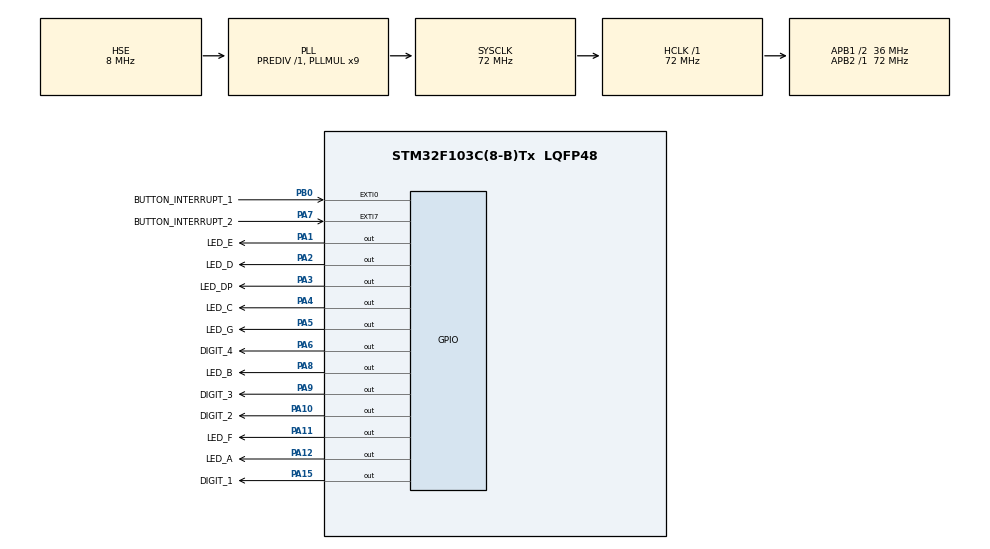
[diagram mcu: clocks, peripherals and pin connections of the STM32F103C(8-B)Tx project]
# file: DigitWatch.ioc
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Mcu.Family=STM32F1
Mcu.Name=STM32F103C(8-B)Tx
Mcu.Package=LQFP48
NVIC.EXTI0_IRQn=true\:3\:0\:true\:false\:true\:true\:true\:true
NVIC.EXTI9_5_IRQn=true\:3\:0\:true\:false\:true\:true\:true\:true
NVIC.PriorityGroup=NVIC_PRIORITYGROUP_4
NVIC.TIM4_IRQn=true\:2\:0\:true\:false\:true\:true\:true\:true
PA1.GPIO_Label=LED_E
PA1.GPIO_Speed=GPIO_SPEED_FREQ_HIGH
PA1.PinState=GPIO_PIN_SET
PA1.Signal=GPIO_Output
PA10.GPIO_Label=DIGIT_2
PA10.GPIO_Speed=GPIO_SPEED_FREQ_HIGH
PA10.Signal=GPIO_Output
PA11.GPIO_Label=LED_F
PA11.GPIO_Speed=GPIO_SPEED_FREQ_HIGH
PA11.PinState=GPIO_PIN_SET
PA11.Signal=GPIO_Output
PA12.GPIO_Label=LED_A
PA12.GPIO_Speed=GPIO_SPEED_FREQ_HIGH
PA12.PinState=GPIO_PIN_SET
PA12.Signal=GPIO_Output
PA13.Mode=Serial_Wire
PA13.Signal=SYS_JTMS-SWDIO
PA14.Mode=Serial_Wire
PA14.Signal=SYS_JTCK-SWCLK
PA15.GPIO_Label=DIGIT_1
PA15.GPIO_Speed=GPIO_SPEED_FREQ_HIGH
PA15.Signal=GPIO_Output
PA2.GPIO_Label=LED_D
PA2.GPIO_Speed=GPIO_SPEED_FREQ_HIGH
PA2.PinState=GPIO_PIN_SET
PA2.Signal=GPIO_Output
PA3.GPIO_Label=LED_DP
PA3.GPIO_Speed=GPIO_SPEED_FREQ_HIGH
PA3.PinState=GPIO_PIN_RESET
PA3.Signal=GPIO_Output
PA4.GPIO_Label=LED_C
PA4.GPIO_Speed=GPIO_SPEED_FREQ_HIGH
PA4.PinState=GPIO_PIN_SET
PA4.Signal=GPIO_Output
PA5.GPIO_Label=LED_G
PA5.GPIO_Speed=GPIO_SPEED_FREQ_HIGH
PA5.PinState=GPIO_PIN_SET
PA5.Signal=GPIO_Output
PA6.GPIO_Label=DIGIT_4
PA6.GPIO_Speed=GPIO_SPEED_FREQ_HIGH
PA6.PinState=GPIO_PIN_RESET
PA6.Signal=GPIO_Output
PA7.GPIO_Label=BUTTON_INTERRUPT_2
PA7.GPIO_ModeDefaultEXTI=GPIO_MODE_IT_FALLING
PA7.GPIO_PuPd=GPIO_PULLUP
PA7.Signal=GPXTI7
PA8.GPIO_Label=LED_B
PA8.GPIO_Speed=GPIO_SPEED_FREQ_HIGH
PA8.PinState=GPIO_PIN_SET
PA8.Signal=GPIO_Output
PA9.GPIO_Label=DIGIT_3
PA9.GPIO_Speed=GPIO_SPEED_FREQ_HIGH
PA9.Signal=GPIO_Output
PB0.GPIO_Label=BUTTON_INTERRUPT_1
PB0.GPIO_ModeDefaultEXTI=GPIO_MODE_IT_FALLING
PB0.GPIO_PuPd=GPIO_PULLUP
PB0.Signal=GPXTI0
PC14-OSC32_IN.Mode=LSE-External-Oscillator
PC14-OSC32_IN.Signal=RCC_OSC32_IN
PC15-OSC32_OUT.Mode=LSE-External-Oscillator
PC15-OSC32_OUT.Signal=RCC_OSC32_OUT
PD0-OSC_IN.Mode=HSE-External-Oscillator
PD0-OSC_IN.Signal=RCC_OSC_IN
PD1-OSC_OUT.Mode=HSE-External-Oscillator
PD1-OSC_OUT.Signal=RCC_OSC_OUT
ProjectManager.HeapSize=0x200
ProjectManager.StackSize=0x400
ProjectManager.TargetToolchain=Makefile
RCC.AHBFreq_Value=72000000
RCC.APB1CLKDivider=RCC_HCLK_DIV2
RCC.APB1Freq_Value=36000000
RCC.APB1TimFreq_Value=72000000
RCC.APB2Freq_Value=72000000
RCC.APB2TimFreq_Value=72000000
RCC.HCLKFreq_Value=72000000
RCC.PLLMUL=RCC_PLL_MUL9
RCC.PLLSourceVirtual=RCC_PLLSOURCE_HSE
RCC.RTCClockSelection=RCC_RTCCLKSOURCE_LSE
RCC.SYSCLKFreq_VALUE=72000000
RCC.SYSCLKSource=RCC_SYSCLKSOURCE_PLLCLK
RCC.USBFreq_Value=72000000
RTC.Hours=15
RTC.Minutes=20
RTC.Seconds=3
TIM4.Period=10000
TIM4.Prescaler=7199
VP_RTC_No_RTC_Output.Mode=RTC_OUT_NO
VP_RTC_VS_RTC_Activate.Mode=RTC_Enabled
VP_RTC_VS_RTC_Calendar.Mode=RTC_Calendar
VP_TIM4_VS_ClockSourceINT.Mode=Internal
board=custom

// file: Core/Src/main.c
/* USER CODE BEGIN Header */
/**
 ******************************************************************************
 * @file           : main.c
 * @brief          : Main program body
 ******************************************************************************
 * @attention
 *
 * Copyright (c) 2025 STMicroelectronics.
 * All rights reserved.
 *
 * This software is licensed under terms that can be found in the LICENSE file
 * in the root directory of this software component.
 * If no LICENSE file comes with this software, it is provided AS-IS.
 *
 ******************************************************************************
 */
/* USER CODE END Header */
#include "main.h"
#include "rtc.h"
#include "tim.h"
#include "gpio.h"

/* USER CODE BEGIN Includes */

#include "revolve.h"
#include "time_keep.h"
#include "clock_keep.h"
#include "countdown.h"
#include "dice.h"
#include "mode_select.h"

/* USER CODE END Includes */

/* USER CODE BEGIN PV */
const uint8_t segment_code[11] = {
    0b00111111, // 0
    0b00000110, // 1
    0b01011011, // 2
    0b01001111, // 3
    0b01100110, // 4
    0b01101101, // 5
    0b01111101, // 6
    0b00000111, // 7
    0b01111111, // 8
    0b01101111, // 9
    0b00000000  // 10
};

// 数码管段码定义（共阴极）
const uint8_t charMap[26] = {
    0x77, 0x7C, 0x39, 0x5E, 0x79, 0x71, 0x3D, 0x76, 0x30, 0x1E, // A-J
    0x75, 0x38, 0x37, 0x54, 0x5C, 0x73, 0x67, 0x50, 0x6D, 0x78, // K-T
    0x3E, 0x1C, 0x2A, 0x49, 0x66, 0x5B                          // U-Z
};

const uint8_t DIGIT_COUNT = 4; // 4 位数码管

char displayBuffer[30] = "ABCDEFGHIJKLMNOPQRSTUVWXYZ  ";
uint8_t currentIndex = 0;

uint16_t LED_ARR[7] = {LED_A_Pin, LED_B_Pin, LED_C_Pin, LED_D_Pin, LED_E_Pin, LED_F_Pin, LED_G_Pin};
uint16_t DIGIT_ARR[4] = {DIGIT_1_Pin, DIGIT_2_Pin, DIGIT_3_Pin, DIGIT_4_Pin};

// 默认-模式选择模式
volatile ModeState modeState = MODE_STATE_MODE_SELECT;

// 在进入待机前，可以保存上次的模式
volatile ModeState lastModeState = MODE_STATE_MODE_SELECT;

// 当前选择的模式编 (1~5)
volatile uint8_t modeNumber = 1;

// 记录是否处于黑屏待机状态
volatile uint8_t isInStandby = 0;

// 用于记录无操作时间（单位：秒
volatile uint16_t inactivityCounter = 0;

// 按下始时
volatile uint32_t button_press_start_time = 0;
// 按钮当前是否处于按下状态
volatile uint8_t button_pressed = 0;
// 是否已经触发了长按操
volatile uint8_t long_press_triggered = 0;

// 长按阈�（单位：ms），例如 2000ms
#define LONG_PRESS_THRESHOLD 1500

// 进入待机的无操作时间阈值（2分钟=120s）
#define INACTIVITY_THRESHOLD 30

#define DEBOUNCE_THRESHOLD_PRESS 50 // 按下防抖 50ms
#define DOUBLE_CLICK_THRESHOLD 400  // 双击间隔阈值 400ms

// 全局变量，用于双击判断
volatile uint8_t clickCount = 0;      // 记录点击次数
volatile uint32_t firstClickTime = 0; // 第一次点击的时间
volatile uint32_t buttonLastTime = 0; // 防抖参考时间

/* USER CODE END PV */

void SystemClock_Config(void);
/* USER CODE BEGIN PFP */

uint8_t getSegmentCode(char c)
{
  if (c >= 'A' && c <= 'Z')
  {
    return charMap[c - 'A'];
  }
  return 0x00;
}

// 刷新 4 位数码管
void updateDisplay()
{
  for (uint8_t i = 0; i < DIGIT_COUNT; i++)
  {
    uint8_t charCode = getSegmentCode(displayBuffer[currentIndex + i]);

    HAL_GPIO_WritePin(GPIOA, DIGIT_1_Pin | DIGIT_2_Pin | DIGIT_3_Pin | DIGIT_4_Pin, GPIO_PIN_SET);

    HAL_GPIO_WritePin(GPIOA, DIGIT_ARR[i], GPIO_PIN_RESET);

    for (uint8_t j = 0; j < 7; j++)
    {
      HAL_GPIO_WritePin(GPIOA, LED_ARR[j], ((charCode >> j) & 0x01) ? GPIO_PIN_SET : GPIO_PIN_RESET);
    }

    HAL_Delay(2);
  }
}

// 滚动文本
void scrollText()
{
  currentIndex++;
  if (currentIndex > 26)
  {
    currentIndex = 0;
  }
}

/* USER CODE END PFP */

int main(void)
{

  /* MCU Configuration--------------------------------------------------------*/

  /* Reset of all peripherals, Initializes the Flash interface and the Systick. */
  HAL_Init();

  /* Configure the system clock */
  SystemClock_Config();

  /* Initialize all configured peripherals */
  MX_GPIO_Init();
  MX_RTC_Init();
  MX_TIM4_Init();

  /* Infinite loop */
  while (1)
  {

    /* USER CODE BEGIN 3 */

    // 根据 currentMode 做不同的处理
    switch (modeState)
    {
    case MODE_STATE_MODE_SELECT:
      run_mode_select();
      break;
    case MODE_STATE_TIMER:
      run_time_keep(); // 计时模式逻辑
      break;
    case MODE_STATE_CLOCK:
      run_clock_keep(); // 时钟模式逻辑
      break;
    case MODE_STATE_COUNTDOWN:
      run_countdown(); // 倒计时模
      break;
    case MODE_STATE_DICE:
      run_dice(); // 骰子模式逻辑
      break;
    case MODE_STATE_STANDBY:
      // 待机模式下黑屏，不显示任何数
      run_revolve();
      break;
    default:
      break;
    }

    // run_time_keep();

    // run_clock_keep();

    // run_countdown();

    // run_dice();

    // revolve();
  }
  /* USER CODE END 3 */
}

void SystemClock_Config(void)
{
  RCC_OscInitTypeDef RCC_OscInitStruct = {0};
  RCC_ClkInitTypeDef RCC_ClkInitStruct = {0};
  RCC_PeriphCLKInitTypeDef PeriphClkInit = {0};

  /** Initializes the RCC Oscillators according to the specified parameters
   * in the RCC_OscInitTypeDef structure.
   */
  RCC_OscInitStruct.OscillatorType = RCC_OSCILLATORTYPE_HSE | RCC_OSCILLATORTYPE_LSE;
  RCC_OscInitStruct.HSEState = RCC_HSE_ON;
  RCC_OscInitStruct.HSEPredivValue = RCC_HSE_PREDIV_DIV1;
  RCC_OscInitStruct.LSEState = RCC_LSE_ON;
  RCC_OscInitStruct.HSIState = RCC_HSI_ON;
  RCC_OscInitStruct.PLL.PLLState = RCC_PLL_ON;
  RCC_OscInitStruct.PLL.PLLSource = RCC_PLLSOURCE_HSE;
  RCC_OscInitStruct.PLL.PLLMUL = RCC_PLL_MUL9;
  if (HAL_RCC_OscConfig(&RCC_OscInitStruct) != HAL_OK)
  {
    Error_Handler();
  }

  /** Initializes the CPU, AHB and APB buses clocks
   */
  RCC_ClkInitStruct.ClockType = RCC_CLOCKTYPE_HCLK | RCC_CLOCKTYPE_SYSCLK | RCC_CLOCKTYPE_PCLK1 | RCC_CLOCKTYPE_PCLK2;
  RCC_ClkInitStruct.SYSCLKSource = RCC_SYSCLKSOURCE_PLLCLK;
  RCC_ClkInitStruct.AHBCLKDivider = RCC_SYSCLK_DIV1;
  RCC_ClkInitStruct.APB1CLKDivider = RCC_HCLK_DIV2;
  RCC_ClkInitStruct.APB2CLKDivider = RCC_HCLK_DIV1;

  if (HAL_RCC_ClockConfig(&RCC_ClkInitStruct, FLASH_LATENCY_2) != HAL_OK)
  {
    Error_Handler();
  }
  PeriphClkInit.PeriphClockSelection = RCC_PERIPHCLK_RTC;
  PeriphClkInit.RTCClockSelection = RCC_RTCCLKSOURCE_LSE;
  if (HAL_RCCEx_PeriphCLKConfig(&PeriphClkInit) != HAL_OK)
  {
    Error_Handler();
  }
}

/* USER CODE BEGIN 4 */

void process_short_press(uint16_t GPIO_Pin)
{
  // 骰子模式
  // setting_dice(GPIO_Pin);
  // 倒计时模
  // setting_countdown(GPIO_Pin);
  // 时钟模式
  // setting_clock_keep(GPIO_Pin);
  //   // 计时模式
  //   // begin_end_time_keep();

  switch (modeState)
  {
  case MODE_STATE_TIMER:
    setting_time_keep(GPIO_Pin); // 计时模式逻辑
    break;
  case MODE_STATE_CLOCK:
    setting_clock_keep(GPIO_Pin); // 时钟模式逻辑
    break;
  case MODE_STATE_COUNTDOWN:
    setting_countdown(GPIO_Pin); // 倒计时
    break;
  case MODE_STATE_DICE:
    setting_dice(GPIO_Pin); // 骰子模式逻辑
    break;
  case MODE_STATE_STANDBY:
    if (isInStandby)
    {
      // 恢复到之前的模式
      modeState = lastModeState;
      isInStandby = 0;
    }
    break;
  default:
    break;
  }
}
void setting_others(uint16_t GPIO_Pin)
{
  if (GPIO_Pin == BUTTON_INTERRUPT_1_Pin)
  {

    uint32_t currentTime = HAL_GetTick();

    if (clickCount == 0)
    {
      // 第一次点击：记录时间并计数
      clickCount = 1;
      firstClickTime = currentTime;
    }
    else if (clickCount == 1)
    {
      // 如果第二次点击在双击阈值内，则直接判定为双击
      if ((currentTime - firstClickTime) <= DOUBLE_CLICK_THRESHOLD)
      {
        clickCount = 0; // 重置点击计数
        firstClickTime = 0;
        modeState = MODE_STATE_MODE_SELECT; // 处理双击操作（例如退出当前模式返回模式选择页面）
        return;
      }
      else
      {
        clickCount = 1;
        firstClickTime = currentTime;
      }
    }
  }
  // 处理短按操作
  process_short_press(GPIO_Pin);
}

void HAL_GPIO_EXTI_Callback(uint16_t GPIO_Pin)
{
  // 防抖
  uint32_t currentTime = HAL_GetTick();
  if (currentTime - buttonLastTime < 200)
    return;
  buttonLastTime = currentTime;

  // 任何action 重置无操作计数器
  inactivityCounter = 0;

  // 根据 currentMode 做不同的处理
  if (modeState == MODE_STATE_MODE_SELECT)
  {
    setting_mode_select(GPIO_Pin);
  }
  else
  {
    setting_others(GPIO_Pin);
  }
}

void HAL_TIM_PeriodElapsedCallback(TIM_HandleTypeDef *htim)
{
  if (htim != &htim4)
    return;
  // 1) 无操作计数
  inactivityCounter = isInStandby ? 0 : (inactivityCounter + 1);
  if (!isInStandby && inactivityCounter >= INACTIVITY_THRESHOLD)
  {
    // 如果当前模式为倒计时，并且 倒计时已经结束，则不进入待机模式
    if (modeState == MODE_STATE_COUNTDOWN && countdownState == STATE_FINISHED)
    {
      return;
    }
    // 超过2分钟无操作，进入待机模式
    lastModeState = modeState;
    modeState = MODE_STATE_STANDBY;
    isInStandby = 1;
  }
}

/* USER CODE END 4 */

void Error_Handler(void)
{
  __disable_irq();
  while (1)
  {
  }
}
